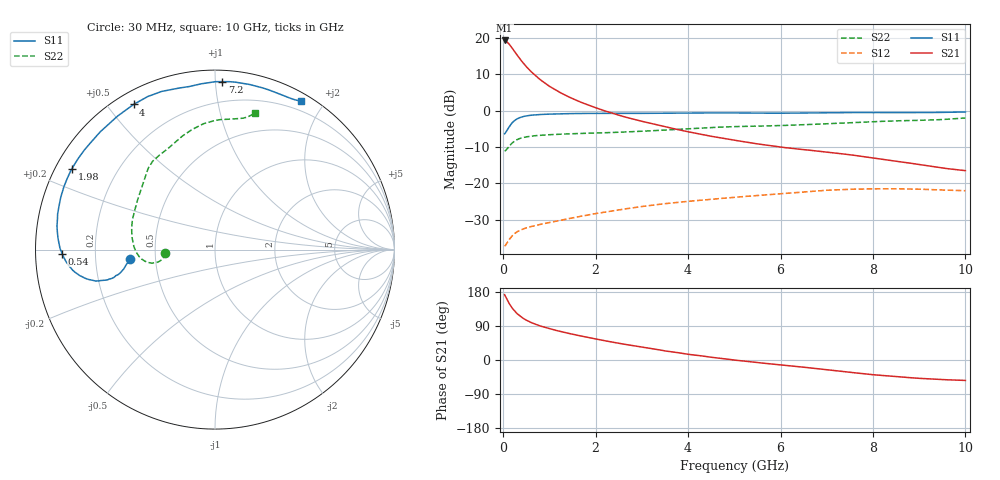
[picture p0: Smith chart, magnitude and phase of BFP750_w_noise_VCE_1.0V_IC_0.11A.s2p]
! Infineon Technologies  Discrete & RF Semiconductors
! BFP750
! VCE =  1.0 V,  IC = 0.11 A
! Common Emitter S-Parameters:  Jan 2016
# GHz  S  MA  R  50
!  f  S11  S21  S12  S22
! GHz  MAG  ANG  MAG  ANG  MAG  ANG  MAG  ANG
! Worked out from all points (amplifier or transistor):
!   229 points, 30 MHz to 10 GHz, reference 50 ohm
!   highest |S21| = 19.3 dB at 30 MHz (marker M1)
!   |S21| within 3 dB of that: start of sweep to 244.4 MHz
!   unconditionally stable (mu >= 1): start of sweep to end of sweep
!   at 280 MHz: K = 1.67, MAG = 19.8 dB, |S12| = -33.6 dB
!   at 1.78 GHz: K = 1.75, MAG = 10.3 dB, |S12| = -28.9 dB
!   at 10 GHz: K = 1.99, MAG = -2.9 dB, |S12| = -22.1 dB
!   lowest NFmin = 1.68 dB at 450 MHz
!   S11 on the Smith chart (normalised r, x): 30 MHz: 0.35, -0.05; 540 MHz: 0.08, -0.01; 1.98 GHz: 0.05, +0.26; 4 GHz: 0.05, +0.58; 7.2 GHz: 0.07, +1.04; 10 GHz: 0.09, +1.74
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0.03  0.4786 -173.6  9.231 172.4  0.0136 7.9  0.2765 -176.1
0.07  0.52 -168.0  8.922 162.2  0.0148 13.8  0.2905 -171.2
0.11  0.571 -165.3  8.484 153.1  0.016 18.3  0.312 -168.4
0.15  0.6267 -164.3  7.912 144.9  0.0174 20.7  0.3351 -167.5
0.2  0.6864 -165.2  7.15 136.0  0.019 22.0  0.3607 -167.9
0.26  0.7401 -167.5  6.331 127.4  0.0206 22.4  0.385 -169.6
0.3  0.7688 -169.2  5.821 122.3  0.0214 22.4  0.3983 -170.9
0.36  0.8006 -171.7  5.172 116.3  0.0224 22.3  0.4131 -172.8
0.45  0.8328 -175.4  4.381 108.5  0.0237 22.3  0.4286 -175.7
0.54  0.852 -178.5  3.791 102.9  0.0247 22.6  0.4388 -178.3
0.7  0.8746 176.6  3.01 94.2  0.0261 23.2  0.4515 178.0
0.9  0.89 171.6  2.39 86.1  0.0279 24.4  0.4614 174.1
1.2  0.9015 165.1  1.813 76.3  0.0305 26.0  0.472 169.1
1.7  0.9132 155.5  1.289 62.8  0.0353 27.5  0.4855 162.2
1.98  0.9158 150.6  1.105 56.0  0.038 27.5  0.4911 158.4
3.4  0.9185 127.7  0.619 26.3  0.0514 22.6  0.5348 139.8
4  0.9273 119.3  0.511 15.1  0.0563 19.2  0.5629 133.6
5.1  0.928 107.6  0.382 -1.4  0.0647 12.9  0.6038 124.2
6.8  0.9313 91.8  0.277 -22.9  0.0783 0.3  0.6504 107.6
7.2  0.9366 87.5  0.26 -28.3  0.081 -3.7  0.6663 104.0
8.4  0.9392 73.5  0.205 -43.0  0.0839 -15.8  0.7191 90.1
10  0.9561 59.8  0.149 -53.9  0.0789 -27.7  0.7909 73.7
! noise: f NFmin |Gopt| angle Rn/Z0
0.45  1.68  0.37  -170  0.29
0.9  1.71  0.46  -163  0.16
1.5  1.74  0.54  -154  0.1
1.9  1.74  0.56  -148  0.11
2.4  1.72  0.56  -141  0.15
3.5  2.05  0.56  -124  0.21
